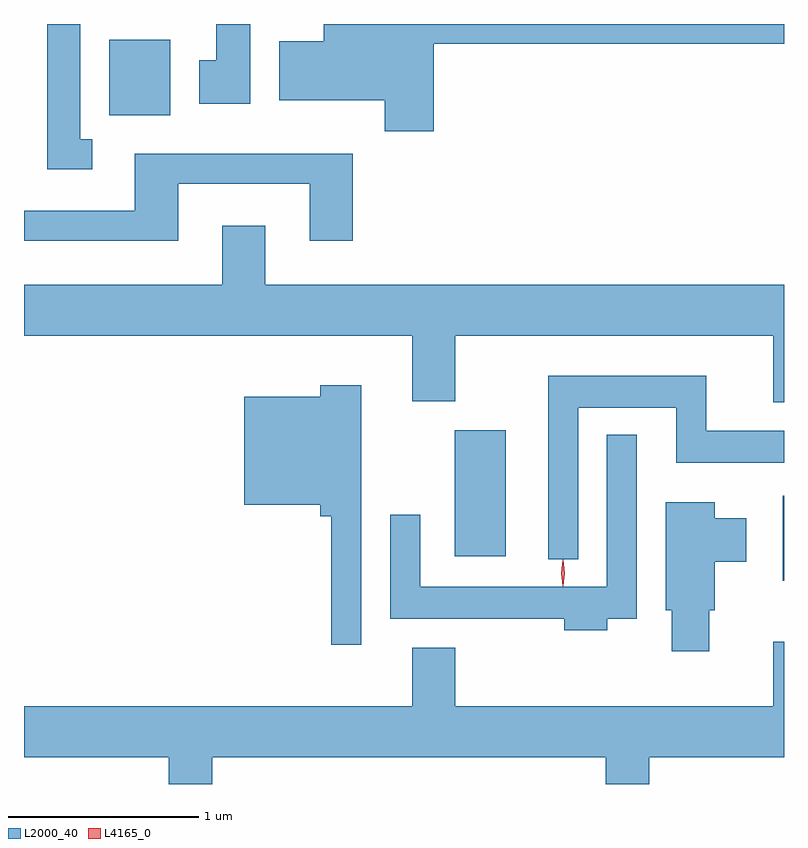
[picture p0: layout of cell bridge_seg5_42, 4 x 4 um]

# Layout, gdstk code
import gdstk
lib = gdstk.Library(unit=1e-6, precision=1e-09)
def R(c, l, rs):  # rectangles x0, y0, x1, y1
    for r in rs: c.add(gdstk.rectangle(r[:2], r[2:], *l))
def P(c, l, *ps):  # polygons
    for p in ps: c.add(gdstk.Polygon(p, *l))
L2000_40 = (2000, 40)
L4165_0 = (4165, 0)

bridge_seg5_42 = lib.new_cell('bridge_seg5_42')
R(bridge_seg5_42, L2000_40, [(1341.051,1473.266,1341.058,1473.714), (1339.326,1473.396,1339.594,1474.059), (1337.506,1475.716,1337.829,1476.114)])
P(bridge_seg5_42, L2000_40, [(1339.214,1476.091),(1341.058,1476.091),(1341.058,1476.196),(1338.636,1476.196),(1338.636,1476.104),(1338.401,1476.104),(1338.401,1475.796),(1338.956,1475.796),(1338.956,1475.631),(1339.214,1475.631)],
  [(1338.249,1476.196),(1338.071,1476.196),(1338.071,1476.004),(1337.981,1476.004),(1337.981,1475.776),(1338.249,1475.776)],
  [(1337.418,1475.589),(1337.354,1475.589),(1337.354,1476.196),(1337.181,1476.196),(1337.181,1475.431),(1337.418,1475.431)],
  [(1337.869,1475.356),(1338.561,1475.356),(1338.561,1475.056),(1338.789,1475.056),(1338.789,1475.514),(1337.641,1475.514),(1337.641,1475.214),(1337.058,1475.214),(1337.058,1475.056),(1337.869,1475.056)],
  [(1341.058,1474.824),(1338.329,1474.824),(1338.329,1475.134),(1338.101,1475.134),(1338.101,1474.824),(1337.058,1474.824),(1337.058,1474.556),(1339.101,1474.556),(1339.101,1474.211),(1339.329,1474.211),(1339.329,1474.556),(1341.001,1474.556),(1341.001,1474.206),(1341.058,1474.206)],
  [(1339.974,1474.176),(1340.491,1474.176),(1340.491,1473.886),(1341.058,1473.886),(1341.058,1474.054),(1340.649,1474.054),(1340.649,1474.344),(1339.816,1474.344),(1339.816,1473.378),(1339.974,1473.378)],
  [(1338.834,1474.294),(1338.616,1474.294),(1338.616,1474.234),(1338.216,1474.234),(1338.216,1473.666),(1338.616,1473.666),(1338.616,1473.606),(1338.676,1473.606),(1338.676,1472.928),(1338.834,1472.928)],
  [(1340.129,1473.066),(1340.284,1473.066),(1340.284,1474.033),(1340.126,1474.033),(1340.126,1473.234),(1339.144,1473.234),(1339.144,1473.613),(1338.986,1473.613),(1338.986,1473.066),(1339.901,1473.066),(1339.901,1473.006),(1340.129,1473.006)],
  [(1340.664,1473.111),(1340.694,1473.111),(1340.694,1473.366),(1340.859,1473.366),(1340.859,1473.594),(1340.694,1473.594),(1340.694,1473.679),(1340.436,1473.679),(1340.436,1473.111),(1340.466,1473.111),(1340.466,1472.896),(1340.664,1472.896)],
  [(1338.049,1472.336),(1340.121,1472.336),(1340.121,1472.196),(1340.349,1472.196),(1340.349,1472.336),(1341.058,1472.336),(1341.058,1472.944),(1341.001,1472.944),(1341.001,1472.604),(1339.329,1472.604),(1339.329,1472.914),(1339.101,1472.914),(1339.101,1472.604),(1337.058,1472.604),(1337.058,1472.336),(1337.821,1472.336),(1337.821,1472.196),(1338.049,1472.196)])
P(bridge_seg5_42, L4165_0, [(1339.894,1473.237),(1339.885,1473.306),(1339.894,1473.376),(1339.895,1473.376),(1339.896,1473.376),(1339.905,1473.306),(1339.896,1473.237),(1339.895,1473.237)],
  [(1339.895,1473.24),(1339.885,1473.306),(1339.894,1473.372),(1339.895,1473.373),(1339.896,1473.372),(1339.905,1473.306),(1339.896,1473.24),(1339.896,1473.24)])

lib.write_gds('bridge_seg5_42.gds')
